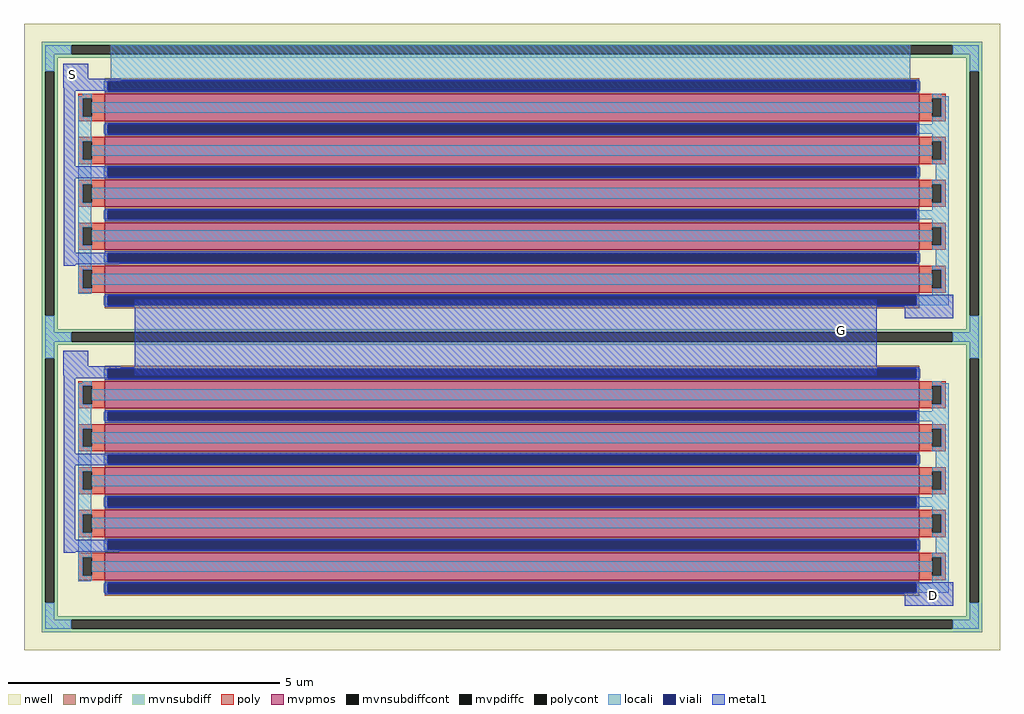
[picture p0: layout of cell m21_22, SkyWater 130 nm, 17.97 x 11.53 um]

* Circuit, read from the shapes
.subckt m21_22 D G S
XM1 G D D S sky130_fd_pr__pfet_g5v0d10v5 w=15 l=0.5 m=5
XM2 S G G S sky130_fd_pr__pfet_g5v0d10v5 w=15 l=0.5 m=5
.ends

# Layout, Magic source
magic
tech sky130A
magscale 1 2
<< locali >>
rect 23754 1894 26698 2056
<< metal1 >>
rect 23580 1888 23670 1988
rect 23842 840 26574 1118
rect 26719 -8 26856 78
use sky130_fd_pr__pfet_g5v0d10v5_DY6QAT  sky130_fd_pr__pfet_g5v0d10v5_DY6QAT_0
transform 0 -1 25231 1 0 1510
box -624 -1797 624 1797
use sky130_fd_pr__pfet_g5v0d10v5_DY6QAT  sky130_fd_pr__pfet_g5v0d10v5_DY6QAT_1
transform 0 -1 25231 1 0 452
box -624 -1797 624 1797
<< labels >>
flabel metal1 23612 1946 23612 1946 0 FreeSans 800 0 0 0 S
flabel metal1 26782 28 26782 28 0 FreeSans 800 0 0 0 D
flabel metal1 26446 1004 26446 1004 0 FreeSans 1600 0 0 0 G
<< end >>

# cell sky130_fd_pr__pfet_g5v0d10v5_DY6QAT: kit device sky130_fd_pr__pfet_g5v0d10v5, w 15 l 0.50 m 1 nf 5 diffcov 100 polycov 100 guard 1 glc 1 grc 1 gtc 1 gbc 1 tbcov 100 rlcov 100 topc 1 botc 1 poverlap 0 doverlap 1 lmin 0.50 wmin 0.42 class mosfet compatible {sky130_fd_pr__pfet_01v8 sky130_fd_pr__pfet_01v8_lvt sky130_fd_pr__pfet_01v8_hvt sky130_fd_pr__pfet_g5v0d10v5} full_metal 1 conn_gates 0 viasrc 100 viadrn 100 viagate 100 viagb 0 viagr 0 viagl 0 viagt 0 doports 1
